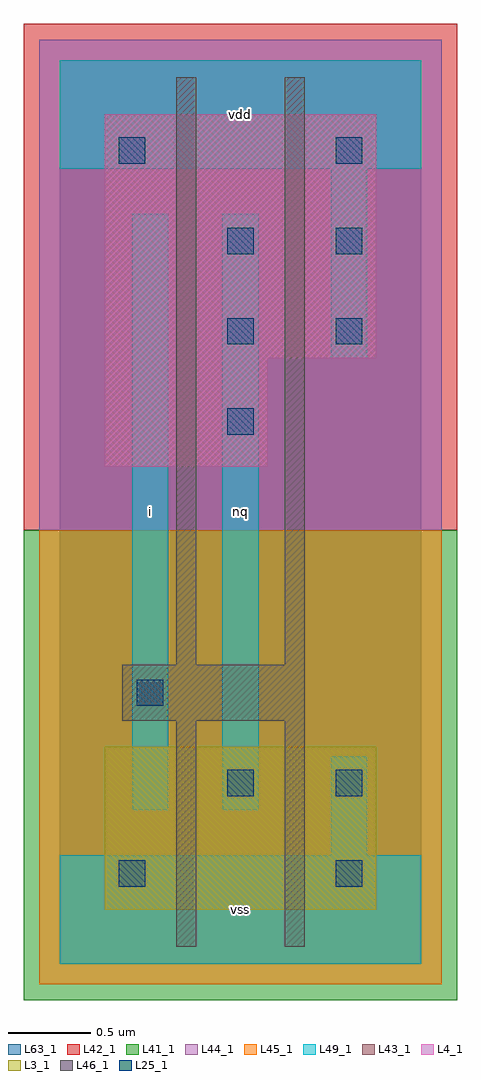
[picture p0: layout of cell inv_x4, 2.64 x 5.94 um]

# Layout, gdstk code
import gdstk
lib = gdstk.Library(unit=1e-6, precision=1e-09)
def R(c, l, rs):  # rectangles x0, y0, x1, y1
    for r in rs: c.add(gdstk.rectangle(r[:2], r[2:], *l))
def A(c, l, x, y, w, h, nx, ny, dx, dy):  # array of equal rectangles
    R(c, l, [(x+i*dx, y+j*dy, x+i*dx+w, y+j*dy+h) for i in range(nx) for j in range(ny)])
L3_1 = (3, 1)
L4_1 = (4, 1)
L25_1 = (25, 1)
L41_1 = (41, 1)
L42_1 = (42, 1)
L43_1 = (43, 1)
L44_1 = (44, 1)
L45_1 = (45, 1)
L46_1 = (46, 1)
L49_1 = (49, 1)
L63_1 = (63, 1)

inv_x4 = lib.new_cell('inv_x4')
R(inv_x4, L3_1, [(0.275,0.33,1.925,1.32)])
R(inv_x4, L4_1, [(0.275,3.025,1.265,3.685), (0.275,3.685,1.925,5.17)])
A(inv_x4, L25_1, 1.02, 3.22, 0.16, 0.16, 1, 3, 0, 0.55)
A(inv_x4, L25_1, 1.68, 3.77, 0.16, 0.16, 1, 3, 0, 0.55)
R(inv_x4, L25_1, [(0.36,0.47,0.52,0.63), (1.68,0.47,1.84,0.63), (1.02,1.02,1.18,1.18), (1.68,1.02,1.84,1.18), (0.47,1.57,0.63,1.73), (0.36,4.87,0.52,5.03)])
R(inv_x4, L41_1, [(-0.22,-0.22,2.42,2.64)])
R(inv_x4, L42_1, [(-0.22,2.64,2.42,5.72)])
R(inv_x4, L43_1, [(0.275,0.33,1.925,1.32), (0.275,3.025,1.265,3.685), (0.275,3.685,1.925,5.17)])
R(inv_x4, L44_1, [(-0.125,2.64,2.325,5.625)])
R(inv_x4, L45_1, [(-0.125,-0.125,2.325,2.64)])
R(inv_x4, L46_1, [(0.71,0.105,0.83,1.48), (1.37,0.105,1.49,1.48), (0.38,1.48,1.49,1.82), (0.71,1.82,0.83,5.395), (1.37,1.82,1.49,5.395)])
R(inv_x4, L49_1, [(0,0,2.2,0.66), (1.65,0.66,1.87,1.265), (0.44,0.935,0.66,4.565), (0.99,0.935,1.21,4.565), (1.65,3.685,1.87,4.84), (0,4.84,2.2,5.5)])
R(inv_x4, L63_1, [(0,0,2.2,5.5)])
inv_x4.add(gdstk.Label('i', (0.55,2.75), layer=49, texttype=1))
inv_x4.add(gdstk.Label('vss', (1.1,0.33), layer=49, texttype=1))
inv_x4.add(gdstk.Label('nq', (1.1,2.75), layer=49, texttype=1))
inv_x4.add(gdstk.Label('vdd', (1.1,5.17), layer=49, texttype=1))

lib.write_gds('inv_x4.gds')
